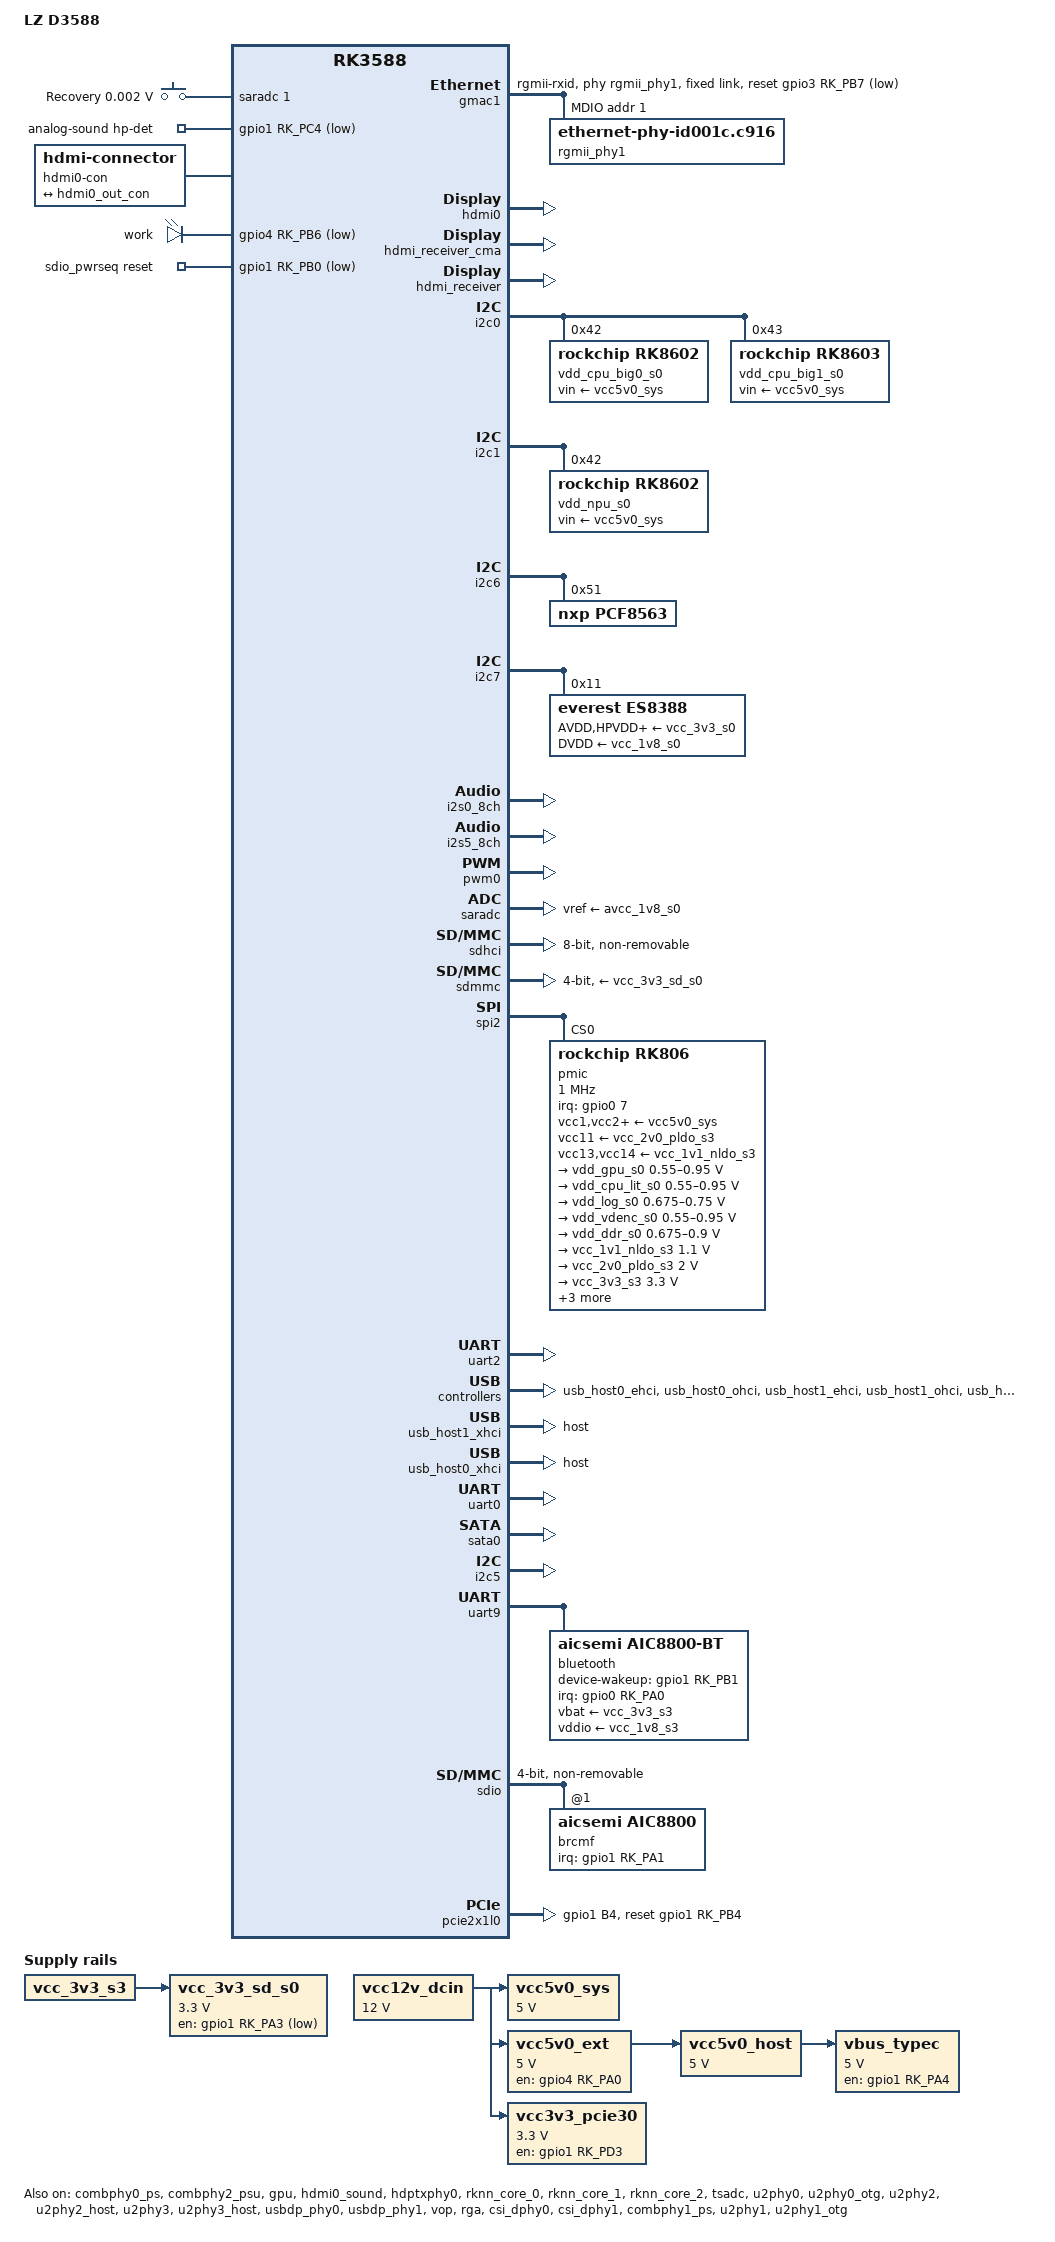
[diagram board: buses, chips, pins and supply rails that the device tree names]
// SPDX-License-Identifier: (GPL-2.0+ OR MIT)

/dts-v1/;

#include <dt-bindings/gpio/gpio.h>
#include <dt-bindings/leds/common.h>
#include <dt-bindings/input/input.h>
#include <dt-bindings/pinctrl/rockchip.h>
#include <dt-bindings/soc/rockchip,vop2.h>
#include <dt-bindings/usb/pd.h>
#include "rk3588.dtsi"

#include "rk3588-rk806-single.dtsi"
#include "rk3588-vngpu.dtsi"
#include "rk3588-vgnpu-supply.dtsi"
#include "rk3588-ramoops.dtsi"
/ {
	model = "LZ D3588";
	compatible = "lz,lz-d3588", "rockchip,rk3588";

	aliases {
		mmc0 = &sdhci;
		mmc1 = &sdmmc;
		mmc2 = &sdio;
	};

	chosen {
		stdout-path = "serial2:1500000n8";
	};

	adc-keys {
		compatible = "adc-keys";
		io-channels = <&saradc 1>;
		io-channel-names = "buttons";
		keyup-threshold-microvolt = <1800000>;
		poll-interval = <100>;

		button-recovery {
			label = "Recovery";
			linux,code = <KEY_VENDOR>;
			press-threshold-microvolt = <1800>;
		};
	};

	analog-sound {
		compatible = "simple-audio-card";
		pinctrl-names = "default";
		pinctrl-0 = <&hp_detect>;
		simple-audio-card,name = "rockchip,es8388";
		simple-audio-card,bitclock-master = <&masterdai>;
		simple-audio-card,format = "i2s";
		simple-audio-card,frame-master = <&masterdai>;
		simple-audio-card,hp-det-gpios = <&gpio1 RK_PC4 GPIO_ACTIVE_LOW>;
		simple-audio-card,mclk-fs = <256>;
		status = "okay";
		simple-audio-card,routing =
			       "Headphones", "LOUT1",
			       "Headphones", "ROUT1",
			       "LINPUT1", "Microphone Jack",
			       "RINPUT1", "Microphone Jack",
			       "LINPUT2", "Onboard Microphone",
			       "RINPUT2", "Onboard Microphone";
		simple-audio-card,widgets =
			"Microphone", "Microphone Jack",
			"Microphone", "Onboard Microphone",
			"Headphone", "Headphones";

		simple-audio-card,cpu {
			sound-dai = <&i2s0_8ch>;
		};

		masterdai: simple-audio-card,codec {
			sound-dai = <&es8388>;
			system-clock-frequency = <12288000>;
		};
	};

	hdmi0-con {
		compatible = "hdmi-connector";
		type = "a";

		port {
			hdmi0_con_in: endpoint {
				remote-endpoint = <&hdmi0_out_con>;
			};
		};
	};

	leds {
		compatible = "gpio-leds";
		work {
		        gpios = <&gpio4 RK_PB6 GPIO_ACTIVE_LOW>;
			function = LED_FUNCTION_HEARTBEAT;
			linux,default-trigger = "heartbeat";
		};
	};



	vcc12v_dcin: regulator-vcc12v-dcin {
		compatible = "regulator-fixed";
		regulator-name = "vcc12v_dcin";
		regulator-always-on;
		regulator-boot-on;
		regulator-min-microvolt = <12000000>;
		regulator-max-microvolt = <12000000>;
	};

	vbus_typec: regulator-vbus-typec {
		compatible = "regulator-fixed";
		enable-active-high;
		gpio = <&gpio1 RK_PA4 GPIO_ACTIVE_HIGH>;
		pinctrl-names = "default";
		pinctrl-0 = <&typec5v_pwren>;
		regulator-name = "vbus_typec";
		regulator-min-microvolt = <5000000>;
		regulator-max-microvolt = <5000000>;
		vin-supply = <&vcc5v0_host>;
	};

	vcc5v0_sys: regulator-vcc5v0-sys {
		compatible = "regulator-fixed";
		regulator-name = "vcc5v0_sys";
		regulator-always-on;
		regulator-boot-on;
		regulator-min-microvolt = <5000000>;
		regulator-max-microvolt = <5000000>;
		vin-supply = <&vcc12v_dcin>;
	};

	vcc5v0_ext: vcc5v0-ext {
		compatible = "regulator-fixed";
		regulator-name = "vcc5v0_ext";
		regulator-boot-on;
		regulator-always-on;
		regulator-min-microvolt = <5000000>;
		regulator-max-microvolt = <5000000>;
		enable-active-high;
		gpio = <&gpio4 RK_PA0 GPIO_ACTIVE_HIGH>;
		pinctrl-names = "default";
		pinctrl-0 = <&vcc5v0_ext_en>;
		vin-supply = <&vcc12v_dcin>;
	};

	vcc5v0_host: regulator-vcc5v0-host {
		compatible = "regulator-fixed";
		regulator-name = "vcc5v0_host";
		regulator-boot-on;
		regulator-always-on;
		regulator-min-microvolt = <5000000>;
		regulator-max-microvolt = <5000000>;
		vin-supply = <&vcc5v0_ext>;
	};

	vcc_3v3_sd_s0: regulator-vcc-3v3-sd-s0 {
		compatible = "regulator-fixed";
		gpios = <&gpio1 RK_PA3 GPIO_ACTIVE_HIGH>;
		pinctrl-0 = <&sd_s0_pwr>;
		regulator-name = "vcc_3v3_sd_s0";
		regulator-boot-on;
		regulator-min-microvolt = <3300000>;
		regulator-max-microvolt = <3300000>;
		vin-supply = <&vcc_3v3_s3>;
	};

	sdio_pwrseq: sdio-pwrseq {
		compatible = "mmc-pwrseq-simple";
		clocks = <&xin32k>;
		clock-names = "ext_clock";
		pinctrl-names = "default";
		pinctrl-0 = <&wifi_enable_h>;
		reset-gpios = <&gpio1 RK_PB0 GPIO_ACTIVE_LOW>;
		post-power-on-delay-ms = <0xc8>;
	};

	vcc3v3_pcie30: regulator-vcc3v3-pcie30 {
		compatible = "regulator-fixed";
		enable-active-high;
		gpios = <&gpio1 RK_PD3 GPIO_ACTIVE_HIGH>;
		regulator-name = "vcc3v3_pcie30";
		regulator-min-microvolt = <3300000>;
		regulator-max-microvolt = <3300000>;
		startup-delay-us = <5000>;
		vin-supply = <&vcc12v_dcin>;
	};

};

&combphy0_ps {
	status = "okay";
};

&combphy2_psu {
	status = "okay";
};

&cpu_b0 {
	cpu-supply = <&vdd_cpu_big0_s0>;
};

&cpu_b1 {
	cpu-supply = <&vdd_cpu_big0_s0>;
};

&cpu_b2 {
	cpu-supply = <&vdd_cpu_big1_s0>;
};

&cpu_b3 {
	cpu-supply = <&vdd_cpu_big1_s0>;
};

&cpu_l0 {
	cpu-supply = <&vdd_cpu_lit_s0>;
};

&cpu_l1 {
	cpu-supply = <&vdd_cpu_lit_s0>;
};

&cpu_l2 {
	cpu-supply = <&vdd_cpu_lit_s0>;
};

&cpu_l3 {
	cpu-supply = <&vdd_cpu_lit_s0>;
};

&gmac1 {
	clock_in_out = "output";
	phy-handle = <&rgmii_phy1>;
	phy-mode = "rgmii-rxid";
	pinctrl-names = "default";
	pinctrl-0 = <&gmac1_miim
		     &gmac1_tx_bus2
		     &gmac1_rx_bus2
		     &gmac1_rgmii_clk
		     &gmac1_rgmii_bus>;
	status = "okay";
	snps,reset-active-low;
	snps,reset-delays-us = <0 10000 10000>;
	snps,reset-gpio = <&gpio3 RK_PB7 GPIO_ACTIVE_LOW>;

	tx_delay = <0x3f>;
	rx_delay = <0x10>;

	fixed-link {
		speed = <1000>;
		full-duplex;
		pause;
	};
	mdio {
        	rgmii_phy1: ethernet-phy@1 {
        		compatible = "ethernet-phy-id001c.c916";
        		reg = <1>;

        		/*
        		 * RTL8211F Custom LED Mode B
        		 * LED1 (Green):  Link 10/100/1000
        		 * LED2 (Yellow): Active 10/100/1000
        		 */
        		realtek,led-data = <0xc160>;

        		reset-assert-us = <20000>;
        		reset-deassert-us = <100000>;
        	};
        };
};


&gpu {
	mali-supply = <&vdd_gpu_s0>;
	status = "okay";
};

&hdmi0 {
	status = "okay";
};

&hdmi_receiver_cma {
	status = "okay";
};

&hdmi_receiver {
	status = "okay";
};

&hdmi0_sound {
	status = "okay";
};

&hdmi0_in {
	hdmi0_in_vp0: endpoint {
		remote-endpoint = <&vp0_out_hdmi0>;
	};
};

&hdmi0_out {
	hdmi0_out_con: endpoint {
		remote-endpoint = <&hdmi0_con_in>;
	};
};

&hdptxphy0 {
	status = "okay";
};

&i2c0 {
	pinctrl-names = "default";
	pinctrl-0 = <&i2c0m2_xfer>;
	status = "okay";

	vdd_cpu_big0_s0: regulator@42 {
		compatible = "rockchip,rk8602";
		reg = <0x42>;
		fcs,suspend-voltage-selector = <1>;
		regulator-name = "vdd_cpu_big0_s0";
		regulator-always-on;
		regulator-boot-on;
		regulator-min-microvolt = <550000>;
		regulator-max-microvolt = <1050000>;
		regulator-ramp-delay = <2300>;
		vin-supply = <&vcc5v0_sys>;

		regulator-state-mem {
			regulator-off-in-suspend;
		};
	};

	vdd_cpu_big1_s0: regulator@43 {
		compatible = "rockchip,rk8603", "rockchip,rk8602";
		reg = <0x43>;
		fcs,suspend-voltage-selector = <1>;
		regulator-name = "vdd_cpu_big1_s0";
		regulator-always-on;
		regulator-boot-on;
		regulator-min-microvolt = <550000>;
		regulator-max-microvolt = <1050000>;
		regulator-ramp-delay = <2300>;
		vin-supply = <&vcc5v0_sys>;

		regulator-state-mem {
			regulator-off-in-suspend;
		};
	};
};

&i2c1 {
	status = "okay";
	pinctrl-0 = <&i2c1m2_xfer>;
	vdd_npu_s0: regulator@42 {
		compatible = "rockchip,rk8602";
		reg = <0x42>;
		fcs,suspend-voltage-selector = <1>;
		regulator-name = "vdd_npu_s0";
		regulator-always-on;
		regulator-boot-on;
		regulator-min-microvolt = <550000>;
		regulator-max-microvolt = <950000>;
		regulator-ramp-delay = <2300>;
		vin-supply = <&vcc5v0_sys>;

		regulator-state-mem {
			regulator-off-in-suspend;
		};
	};
};


&i2c6 {
	status = "okay";
	pcf8563: pcf8563@51 {
		compatible = "nxp,pcf8563";
		reg = <0x51>;
		#clock-cells = <0>;
		status = "okay";
	};
};

&i2c7 {
	pinctrl-names = "default";
	pinctrl-0 = <&i2c7m0_xfer>;
	status = "okay";

	es8388: audio-codec@11 {
		compatible = "everest,es8388", "everest,es8328";
		reg = <0x11>;
		assigned-clocks = <&cru I2S0_8CH_MCLKOUT>;
		assigned-clock-rates = <12288000>;
		clocks = <&cru I2S0_8CH_MCLKOUT>;
		clock-names = "mclk";
		#sound-dai-cells = <0>;
		AVDD-supply = <&vcc_3v3_s0>;
		DVDD-supply = <&vcc_1v8_s0>;
		HPVDD-supply = <&vcc_3v3_s0>;
		PVDD-supply = <&vcc_3v3_s0>;
	};

};

&i2s0_8ch {
	pinctrl-names = "default";
	pinctrl-0 = <&i2s0_lrck
		     &i2s0_sclk
		     &i2s0_sdi0
		     &i2s0_sdo0>;
	status = "okay";
};

&i2s5_8ch {
	status = "okay";
};

&pd_gpu {
	domain-supply = <&vdd_gpu_s0>;
};

&pd_npu {
	domain-supply = <&vdd_npu_s0>;
};

&pinctrl {
	sound {
		hp_detect: hp-detect {
			rockchip,pins = <1 RK_PC4 RK_FUNC_GPIO &pcfg_pull_none>;
		};
	};

	usb-typec {
		typec5v_pwren: typec5v-pwren {
			rockchip,pins = <1 RK_PA4 RK_FUNC_GPIO &pcfg_pull_none>;
		};
	};

	vcc5v0-ext {
		vcc5v0_ext_en: vcc5v0-ext-en {
			rockchip,pins = <4 RK_PA0 RK_FUNC_GPIO &pcfg_pull_none>;
			phandle = <0x1ca>;
		};
	};


	sdmmc-ctrl {
		sd_s0_pwr: sd-s0-pwr {
			rockchip,pins = <1 RK_PA3 RK_FUNC_GPIO &pcfg_pull_up>;
		};
	};

	sdio-pwrseq {
		wifi_enable_h: wifi-enable-h {
			rockchip,pins = <1 RK_PB0 RK_FUNC_GPIO &pcfg_pull_up>;
		};
	};

	rtl8111 {
		rtl8111_resetb: rtl8111-resetb {
			rockchip,pins = <1 RK_PB4 RK_FUNC_GPIO &pcfg_pull_up>;
		};
	};

	wireless-wlan {
		wifi_host_wake_irq: wifi-host-wake-irq {
			rockchip,pins = <1 RK_PA1 RK_FUNC_GPIO &pcfg_pull_down>;
		};
	};

	wireless-bluetooth {
		bt_reset_gpio: bt-reset-gpio {
			rockchip,pins = <1 RK_PB2 RK_FUNC_GPIO &pcfg_pull_none>;
		};

		bt_wake_gpio: bt-wake-gpio {
			rockchip,pins = <1 RK_PB1 RK_FUNC_GPIO &pcfg_pull_none>;
		};

		bt_irq_gpio: bt-irq-gpio {
			rockchip,pins = <1 RK_PA0 RK_FUNC_GPIO &pcfg_pull_down>;
		};
	};
};

&pwm0 {
	pinctrl-0 = <&pwm0m0_pins>;
	pinctrl-names = "default";
	status = "okay";
};

&rknn_core_0 {
	npu-supply = <&vdd_npu_s0>;
	sram-supply = <&vdd_npu_s0>;
	status = "okay";
};

&rknn_core_1 {
	npu-supply = <&vdd_npu_s0>;
	sram-supply = <&vdd_npu_s0>;
	status = "okay";
};

&rknn_core_2 {
	npu-supply = <&vdd_npu_s0>;
	sram-supply = <&vdd_npu_s0>;
	status = "okay";
};

&rknn_mmu_0 {
	status = "okay";
};

&rknn_mmu_1 {
	status = "okay";
};

&rknn_mmu_2 {
	status = "okay";
};

&saradc {
	vref-supply = <&avcc_1v8_s0>;
	status = "okay";
};

&sdhci {
	bus-width = <8>;
	no-sdio;
	no-sd;
	non-removable;
	max-frequency = <200000000>;
	mmc-hs400-1_8v;
	mmc-hs400-enhanced-strobe;
	status = "okay";
};

&sdmmc {
	bus-width = <4>;
	cap-sd-highspeed;
	disable-wp;
	max-frequency = <150000000>;
	no-mmc;
	no-sdio;
	sd-uhs-sdr104;
	vmmc-supply = <&vcc_3v3_sd_s0>;
	vqmmc-supply = <&vccio_sd_s0>;
	status = "okay";
};

&sfc {
	pinctrl-names = "default";
	pinctrl-0 = <&fspim0_pins>;
	status = "disabled";
	flash@0 {
		compatible = "jedec,spi-nor";
		reg = <0x0>;
		spi-max-frequency = <100000000>;
		spi-rx-bus-width = <4>;
		spi-tx-bus-width = <1>;
	};
};

&spi2 {
	status = "okay";
	assigned-clocks = <&cru CLK_SPI2>;
	assigned-clock-rates = <200000000>;
	num-cs = <1>;
	pinctrl-names = "default";
	pinctrl-0 = <&spi2m2_cs0 &spi2m2_pins>;

	pmic@0 {
		compatible = "rockchip,rk806";
		reg = <0x0>;
		interrupt-parent = <&gpio0>;
		interrupts = <7 IRQ_TYPE_LEVEL_LOW>;
		pinctrl-names = "default";
		pinctrl-0 = <&pmic_pins>, <&rk806_dvs1_null>,
				<&rk806_dvs2_null>, <&rk806_dvs3_null>;
		spi-max-frequency = <1000000>;
		system-power-controller;

		vcc1-supply = <&vcc5v0_sys>;
		vcc2-supply = <&vcc5v0_sys>;
		vcc3-supply = <&vcc5v0_sys>;
		vcc4-supply = <&vcc5v0_sys>;
		vcc5-supply = <&vcc5v0_sys>;
		vcc6-supply = <&vcc5v0_sys>;
		vcc7-supply = <&vcc5v0_sys>;
		vcc8-supply = <&vcc5v0_sys>;
		vcc9-supply = <&vcc5v0_sys>;
		vcc10-supply = <&vcc5v0_sys>;
		vcc11-supply = <&vcc_2v0_pldo_s3>;
		vcc12-supply = <&vcc5v0_sys>;
		vcc13-supply = <&vcc_1v1_nldo_s3>;
		vcc14-supply = <&vcc_1v1_nldo_s3>;
		vcca-supply = <&vcc5v0_sys>;

		gpio-controller;
		#gpio-cells = <2>;

		rk806_dvs1_null: dvs1-null-pins {
			pins = "gpio_pwrctrl1";
			function = "pin_fun0";
		};

		rk806_dvs2_null: dvs2-null-pins {
			pins = "gpio_pwrctrl2";
			function = "pin_fun0";
		};

		rk806_dvs3_null: dvs3-null-pins {
			pins = "gpio_pwrctrl3";
			function = "pin_fun0";
		};

		regulators {
			vdd_gpu_s0: dcdc-reg1 {
				regulator-name = "vdd_gpu_s0";
				regulator-boot-on;
				regulator-min-microvolt = <550000>;
				regulator-max-microvolt = <950000>;
				regulator-ramp-delay = <12500>;
				regulator-enable-ramp-delay = <400>;

				regulator-state-mem {
					regulator-off-in-suspend;
				};
			};

			vdd_cpu_lit_s0: dcdc-reg2 {
				regulator-name = "vdd_cpu_lit_s0";
				regulator-always-on;
				regulator-boot-on;
				regulator-min-microvolt = <550000>;
				regulator-max-microvolt = <950000>;
				regulator-ramp-delay = <12500>;

				regulator-state-mem {
					regulator-off-in-suspend;
				};
			};

			vdd_log_s0: dcdc-reg3 {
				regulator-name = "vdd_log_s0";
				regulator-always-on;
				regulator-boot-on;
				regulator-min-microvolt = <675000>;
				regulator-max-microvolt = <750000>;
				regulator-ramp-delay = <12500>;

				regulator-state-mem {
					regulator-off-in-suspend;
					regulator-suspend-microvolt = <750000>;
				};
			};

			vdd_vdenc_s0: dcdc-reg4 {
				regulator-name = "vdd_vdenc_s0";
				regulator-always-on;
				regulator-boot-on;
				regulator-min-microvolt = <550000>;
				regulator-max-microvolt = <950000>;
				regulator-ramp-delay = <12500>;

				regulator-state-mem {
					regulator-off-in-suspend;
				};
			};

			vdd_ddr_s0: dcdc-reg5 {
				regulator-name = "vdd_ddr_s0";
				regulator-always-on;
				regulator-boot-on;
				regulator-min-microvolt = <675000>;
				regulator-max-microvolt = <900000>;
				regulator-ramp-delay = <12500>;

				regulator-state-mem {
					regulator-off-in-suspend;
					regulator-suspend-microvolt = <850000>;
				};
			};

			vcc_1v1_nldo_s3: vdd2_ddr_s3: dcdc-reg6 {
				regulator-name = "vdd2_ddr_s3";
				regulator-always-on;
				regulator-boot-on;
				regulator-max-microvolt = <1100000>;
				regulator-min-microvolt = <1100000>;

				regulator-state-mem {
					regulator-on-in-suspend;
				};
			};

			vcc_2v0_pldo_s3: dcdc-reg7 {
				regulator-name = "vdd_2v0_pldo_s3";
				regulator-always-on;
				regulator-boot-on;
				regulator-min-microvolt = <2000000>;
				regulator-max-microvolt = <2000000>;
				regulator-ramp-delay = <12500>;

				regulator-state-mem {
					regulator-on-in-suspend;
					regulator-suspend-microvolt = <2000000>;
				};
			};

			vcc_3v3_s3: dcdc-reg8 {
				regulator-name = "vcc_3v3_s3";
				regulator-always-on;
				regulator-boot-on;
				regulator-min-microvolt = <3300000>;
				regulator-max-microvolt = <3300000>;

				regulator-state-mem {
					regulator-on-in-suspend;
					regulator-suspend-microvolt = <3300000>;
				};
			};

			vddq_ddr_s0: dcdc-reg9 {
				regulator-name = "vddq_ddr_s0";
				regulator-always-on;
				regulator-boot-on;

				regulator-state-mem {
					regulator-off-in-suspend;
				};
			};

			vcc_1v8_s3: dcdc-reg10 {
				regulator-name = "vcc_1v8_s3";
				regulator-always-on;
				regulator-boot-on;
				regulator-min-microvolt = <1800000>;
				regulator-max-microvolt = <1800000>;

				regulator-state-mem {
					regulator-on-in-suspend;
					regulator-suspend-microvolt = <1800000>;
				};
			};

			avcc_1v8_s0: pldo-reg1 {
				regulator-name = "avcc_1v8_s0";
				regulator-always-on;
				regulator-boot-on;
				regulator-min-microvolt = <1800000>;
				regulator-max-microvolt = <1800000>;

				regulator-state-mem {
					regulator-off-in-suspend;
				};
			};

			vcc_1v8_s0: pldo-reg2 {
				regulator-name = "vcc_1v8_s0";
				regulator-always-on;
				regulator-boot-on;
				regulator-min-microvolt = <1800000>;
				regulator-max-microvolt = <1800000>;

				regulator-state-mem {
					regulator-off-in-suspend;
					regulator-suspend-microvolt = <1800000>;
				};
			};

			avdd_1v2_s0: pldo-reg3 {
				regulator-name = "avdd_1v2_s0";
				regulator-always-on;
				regulator-boot-on;
				regulator-min-microvolt = <1200000>;
				regulator-max-microvolt = <1200000>;

				regulator-state-mem {
					regulator-off-in-suspend;
				};
			};

			vcc_3v3_s0: pldo-reg4 {
				regulator-name = "vcc_3v3_s0";
				regulator-always-on;
				regulator-boot-on;
				regulator-min-microvolt = <3300000>;
				regulator-max-microvolt = <3300000>;
				regulator-ramp-delay = <12500>;

				regulator-state-mem {
					regulator-off-in-suspend;
				};
			};

			vccio_sd_s0: pldo-reg5 {
				regulator-name = "vccio_sd_s0";
				regulator-always-on;
				regulator-boot-on;
				regulator-min-microvolt = <1800000>;
				regulator-max-microvolt = <3300000>;
				regulator-ramp-delay = <12500>;

				regulator-state-mem {
					regulator-off-in-suspend;
				};
			};

			pldo6_s3: pldo-reg6 {
				regulator-name = "pldo6_s3";
				regulator-always-on;
				regulator-boot-on;
				regulator-min-microvolt = <1800000>;
				regulator-max-microvolt = <1800000>;

				regulator-state-mem {
					regulator-on-in-suspend;
					regulator-suspend-microvolt = <1800000>;
				};
			};

			vdd_0v75_s3: nldo-reg1 {
				regulator-name = "vdd_0v75_s3";
				regulator-always-on;
				regulator-boot-on;
				regulator-min-microvolt = <750000>;
				regulator-max-microvolt = <750000>;

				regulator-state-mem {
					regulator-on-in-suspend;
					regulator-suspend-microvolt = <750000>;
				};
			};

			vdd_ddr_pll_s0: nldo-reg2 {
				regulator-name = "vdd_ddr_pll_s0";
				regulator-always-on;
				regulator-boot-on;
				regulator-min-microvolt = <850000>;
				regulator-max-microvolt = <850000>;

				regulator-state-mem {
					regulator-off-in-suspend;
					regulator-suspend-microvolt = <850000>;
				};
			};

			avdd_0v75_s0: nldo-reg3 {
				regulator-name = "avdd_0v75_s0";
				regulator-always-on;
				regulator-boot-on;
				regulator-min-microvolt = <750000>;
				regulator-max-microvolt = <750000>;

				regulator-state-mem {
					regulator-off-in-suspend;
				};
			};

			vdd_0v85_s0: nldo-reg4 {
				regulator-name = "vdd_0v85_s0";
				regulator-always-on;
				regulator-boot-on;
				regulator-min-microvolt = <850000>;
				regulator-max-microvolt = <850000>;

				regulator-state-mem {
					regulator-off-in-suspend;
				};
			};

			vdd_0v75_s0: nldo-reg5 {
				regulator-name = "vdd_0v75_s0";
				regulator-always-on;
				regulator-boot-on;
				regulator-min-microvolt = <750000>;
				regulator-max-microvolt = <750000>;

				regulator-state-mem {
					regulator-off-in-suspend;
				};
			};
		};
	};
};

&tsadc {
	status = "okay";
};

&u2phy0 {
	status = "okay";
};

&u2phy0_otg {
	status = "okay";
	phy-supply = <&vbus_typec>;
};

&u2phy2 {
	status = "okay";
};

&u2phy2_host {
	status = "okay";
	vin-supply = <&vcc5v0_host>;
};

&u2phy3 {
	status = "okay";
};

&u2phy3_host {
	status = "okay";
};

&uart2 {
	pinctrl-0 = <&uart2m0_xfer>;
	status = "okay";
};

&usbdp_phy0 {
	status = "okay";
	rockchip,dp-lane-mux = <2 3>;
};

&usbdp_phy1 {
	status = "okay";
	rockchip,dp-lane-mux = <2 3>;
};

&usb_host0_ehci {
	status = "okay";
};

&usb_host0_ohci {
	status = "okay";
};

&usb_host1_xhci {
	status = "okay";
	dr_mode = "host";
};

&usb_host0_xhci {
	dr_mode = "host";
	usb-role-switch;
	status = "okay";
};

&usb_host1_ehci {
	status = "okay";
};

&usb_host1_ohci {
	status = "okay";
};

&usb_host2_xhci {
	status = "okay";
};

&vop {
	status = "okay";
};

&vop_mmu {
	status = "okay";
};

&uart0 {
	status = "okay";
	pinctrl-0 = <&uart0m2_xfer>;
};

&rga {
	status = "okay";
};


&sata0 {
	status = "okay";
};

&i2c5 {
	status = "okay";
};

&uart9 {
	status = "okay";
	pinctrl-0 = <&uart9m0_xfer &uart9m0_ctsn>;
	bluetooth {
	compatible = "aicsemi,aic8800-bt";
		clocks = <&xin32k>;
		clock-names = "ext_clock";
		device-wakeup-gpios = <&gpio1 RK_PB1 GPIO_ACTIVE_HIGH>;
		interrupt-parent = <&gpio0>;
		interrupts = <RK_PA0 IRQ_TYPE_EDGE_FALLING>;
		interrupt-names = "host-wakeup";
		pinctrl-names = "default";
		pinctrl-0 = <&bt_reset_gpio>, <&bt_wake_gpio>, <&bt_irq_gpio>;
		vbat-supply = <&vcc_3v3_s3>;
		vddio-supply = <&vcc_1v8_s3>;
	};
};

&sdio {
	#address-cells = <1>;
	bus-width = <4>;
	cap-sd-highspeed;
	cap-sdio-irq;
	disable-wp;
	keep-power-in-suspend;
	max-frequency = <150000000>;
	mmc-pwrseq = <&sdio_pwrseq>;
	no-mmc;
	no-sd;
	non-removable;
	#size-cells = <0>;
	status = "okay";
	pinctrl-0 = <&sdiom0_pins>;
	brcmf: wifi@1 {
		compatible = "aicsemi,aic8800";
		reg = <1>;
		interrupt-parent = <&gpio1>;
		interrupts = <RK_PA1 IRQ_TYPE_LEVEL_HIGH>;
		interrupt-names = "host-wake";
		pinctrl-0 = <&wifi_host_wake_irq>;
		pinctrl-names = "default";
	};
};

&tsadc {
	status = "okay";
};

&csi_dphy0 {
	status = "okay";
};

&csi_dphy1 {
	status = "okay";
};

&combphy0_ps {
	status = "okay";
};

&pcie2x1l0 {
	status = "okay";
	pinctrl-0 = <&rtl8111_resetb>;
	reset-gpios = <&gpio1 RK_PB4 GPIO_ACTIVE_HIGH>;
};

&combphy1_ps {
	status = "okay";
};

&u2phy1 {
	status = "okay";
};

&u2phy1_otg {
	status = "okay";
	vin-supply = <&vcc5v0_host>;
};

&vp0 {
	vp0_out_hdmi0: endpoint@ROCKCHIP_VOP2_EP_HDMI0 {
		reg = <ROCKCHIP_VOP2_EP_HDMI0>;
		remote-endpoint = <&hdmi0_in_vp0>;
	};
};
